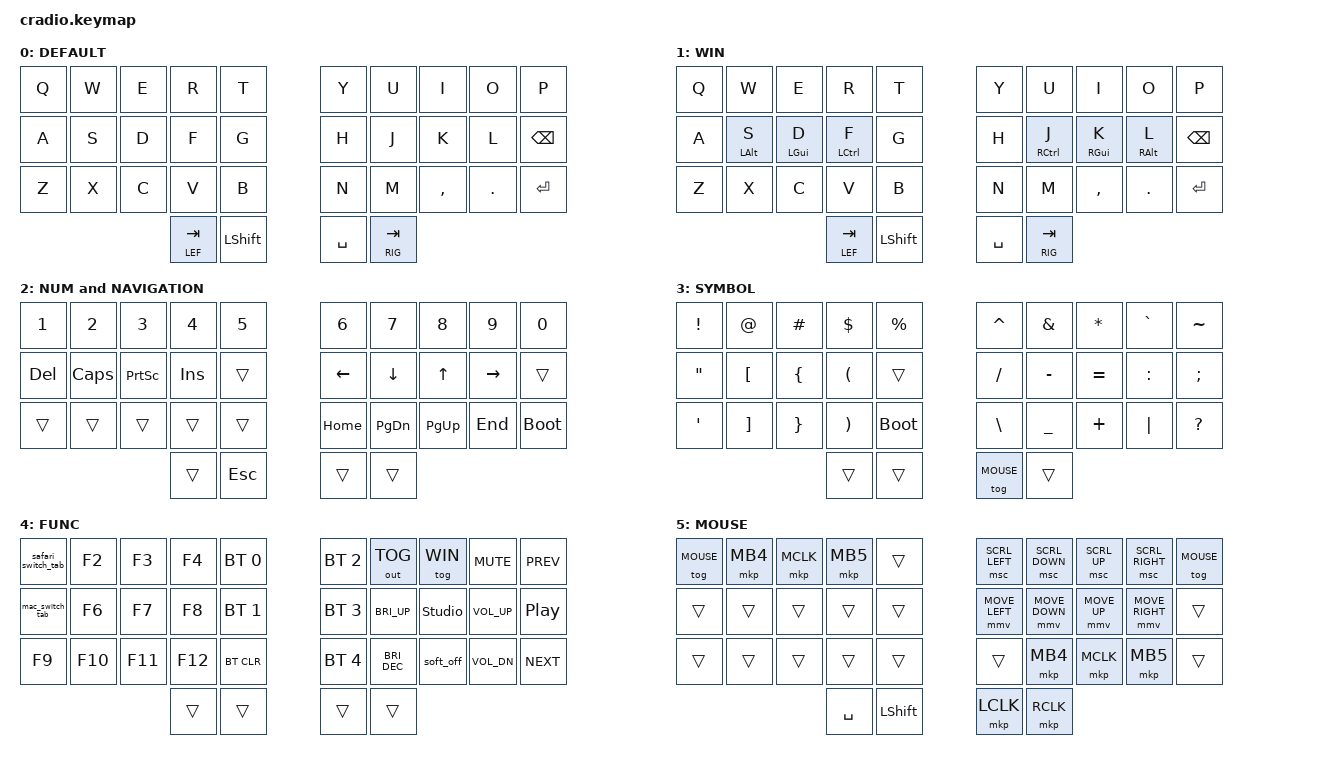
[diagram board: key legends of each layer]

// Copyright (c) 2022 The ZMK Contributors
// SPDX-License-Identifier: MIT

#define ZMK_POINTING_DEFAULT_MOVE_VAL 2500  // 600
#define ZMK_POINTING_DEFAULT_SCRL_VAL 20    // 10

#include <behaviors.dtsi>
#include <dt-bindings/zmk/bt.h>
#include <dt-bindings/zmk/keys.h>
#include <dt-bindings/zmk/outputs.h>
#include <dt-bindings/zmk/pointing.h>

#define MAC 0
#define WIN 1
#define RIG 2
#define LEF 3
#define TRI 4
#define MOUSE 5

/ {
    keys {
        compatible = "gpio-keys";
        soft_off_gpio_key: soft_off_gpio_key {
            gpios = <&gpio1 6 (GPIO_ACTIVE_LOW | GPIO_PULL_UP)>;
        };
    };
    wakeup_scan: wakeup_scan {
        compatible = "zmk,kscan-gpio-direct";
        input-keys = <&soft_off_gpio_key>;
        wakeup-source;
    };
    side_band_behavior_triggers: side_band_behavior_triggers {
        compatible = "zmk,kscan-sideband-behaviors";
        kscan = <&wakeup_scan>;
        auto-enable;
        wakeup-source;
    };
    soft_off_wakers {
        compatible = "zmk,soft-off-wakeup-sources";
        wakeup-sources = <&wakeup_scan>;
    };
};

/ {
    macros {
        safari_switch_tab: safari_switch_tab {
            compatible = "zmk,behavior-macro";
            #binding-cells = <0>;
            bindings = <&macro_press &kp LGUI>
                , <&macro_press &kp LSHFT>
                , <&macro_tap &kp BSLH>
                , <&macro_release &kp LSHFT>
                , <&macro_release &kp LGUI>
                ;
        };
        mac_switch_tab: mac_switch_tab {
            compatible = "zmk,behavior-macro";
            #binding-cells = <0>;
            bindings = <&macro_press &kp LGUI>
                , <&macro_tap &kp SPACE>
                , <&macro_release &kp LGUI>
                ;
        };
    };
};

/ {
    chosen {
        zmk,charmap = &charmap_us;
    };
};

/ {
    behaviors {
        ht: hold_tap {
            label = "hold_tap";
            compatible = "zmk,behavior-hold-tap";
            #binding-cells = <2>;
            flavor = "balanced";
            tapping-term-ms = <200>;
            quick-tap-ms = <150>;
            global-quick-tap;
            bindings = <&kp>, <&kp>;
        };
        mmv {
            acceleration-exponent = <1>;
            time-to-max-speed-ms = <300>;
            delay-ms = <0>;
        };
        msc {
            acceleration-exponent = <0>;
            time-to-max-speed-ms = <40>;
            delay-ms = <0>;
        };
    };

    combos {
        compatible = "zmk,combos";
        combo_lctl {
            timeout-ms = <50>;
            key-positions = <0 1>;
            bindings = <&kp LCTRL>;
        };
        combo_lalt {
            timeout-ms = <50>;
            key-positions = <1 2>;
            bindings = <&kp LALT>;
        };
        combo_lgui {
            timeout-ms = <50>;
            key-positions = <2 3>;
            bindings = <&kp LGUI>;
        };
        combo_rctl {
            timeout-ms = <50>;
            key-positions = <8 9>;
            bindings = <&kp RCTRL>;
        };
        combo_ralt {
            timeout-ms = <50>;
            key-positions = <7 8>;
            bindings = <&kp RALT>;
        };
        combo_rgui {
            timeout-ms = <50>;
            key-positions = <6 7>;
            bindings = <&kp RGUI>;
        };
    };

    conditional_layers {
        compatible = "zmk,conditional-layers";
        tri_layer {
            if-layers = <RIG LEF>;
            then-layer = <TRI>;
        };
    };

    keymap {
        compatible = "zmk,keymap";

        default_layer {
            display-name = "DEFAULT";
            bindings = <
                &kp Q  &kp W       &kp E        &kp R        &kp T      &kp Y  &kp U        &kp I        &kp O       &kp P
                &kp A  &kp S       &kp D        &kp F        &kp G      &kp H  &kp J        &kp K        &kp L       &kp BSPC
                &kp Z  &kp X       &kp C        &kp V        &kp B      &kp N  &kp M        &kp COMMA    &kp DOT     &kp ENTER
                &lt LEF TAB  &kp LSHIFT  &kp SPACE  &lt RIG TAB
            >;
        };

        windows_layer {
            display-name = "WIN";
            bindings = <
                &kp Q  &kp W       &kp E       &kp R        &kp T      &kp Y  &kp U        &kp I       &kp O       &kp P
                &kp A  &ht LALT S  &ht LGUI D  &ht LCTRL F  &kp G      &kp H  &ht RCTRL J  &ht RGUI K  &ht RALT L  &kp BSPC
                &kp Z  &kp X       &kp C       &kp V        &kp B      &kp N  &kp M        &kp COMMA   &kp DOT     &kp ENTER
                &lt LEF TAB  &kp LSHIFT  &kp SPACE  &lt RIG TAB
            >;
        };

        right_layer {
            display-name = "NUM and NAVIGATION";
            bindings = <
                &kp N1   &kp N2    &kp N3     &kp N4   &kp N5    &kp N6     &kp N7     &kp N8     &kp N9     &kp N0
                &kp DEL  &kp CAPS  &kp PSCRN  &kp INS  &trans    &kp LEFT   &kp DOWN   &kp UP     &kp RIGHT  &trans
                &trans   &trans    &trans     &trans   &trans    &kp HOME   &kp PG_DN  &kp PG_UP  &kp END    &bootloader
                &trans   &kp ESC  &trans  &trans
            >;
        };

        left_layer {
            display-name = "SYMBOL";
            bindings = <
                &kp EXCL  &kp AT    &kp HASH  &kp DLLR  &kp PRCNT    &kp CARET  &kp AMPS   &kp ASTRK  &kp GRAVE  &kp TILDE
                &kp DQT   &kp LBKT  &kp LBRC  &kp LPAR  &trans       &kp FSLH   &kp MINUS  &kp EQUAL  &kp COLON  &kp SEMI
                &kp SQT   &kp RBKT  &kp RBRC  &kp RPAR  &bootloader  &kp BSLH   &kp UNDER  &kp PLUS   &kp PIPE   &kp QMARK
                &trans    &trans    &tog MOUSE  &trans
            >;
        };

        tri_layer {
            display-name = "FUNC";
            bindings = <
                &safari_switch_tab  &kp F2   &kp F3   &kp F4   &bt BT_SEL 0    &bt BT_SEL 2  &out OUT_TOG   &tog WIN        &kp C_MUTE    &kp C_PREV
                &mac_switch_tab  &kp F6  &kp F7  &kp F8  &bt BT_SEL 1    &bt BT_SEL 3  &kp C_BRI_UP   &studio_unlock  &kp C_VOL_UP  &kp C_PP
                &kp F9  &kp F10  &kp F11  &kp F12  &bt BT_CLR      &bt BT_SEL 4  &kp C_BRI_DEC  &soft_off       &kp C_VOL_DN  &kp C_NEXT
                &trans  &trans  &trans  &trans
            >;
        };

        mouse {
            display-name = "MOUSE";
            bindings = <
                &tog MOUSE  &mkp MB4  &mkp MCLK  &mkp MB5  &trans    &msc SCRL_LEFT  &msc SCRL_DOWN  &msc SCRL_UP  &msc SCRL_RIGHT  &tog MOUSE
                &trans      &trans    &trans      &trans    &trans    &mmv MOVE_LEFT  &mmv MOVE_DOWN  &mmv MOVE_UP  &mmv MOVE_RIGHT  &trans
                &trans      &trans    &trans      &trans    &trans    &trans          &mkp MB4        &mkp MCLK     &mkp MB5         &trans
                &kp SPACE  &kp LSHIFT  &mkp LCLK  &mkp RCLK
            >;
        };
    };
};
